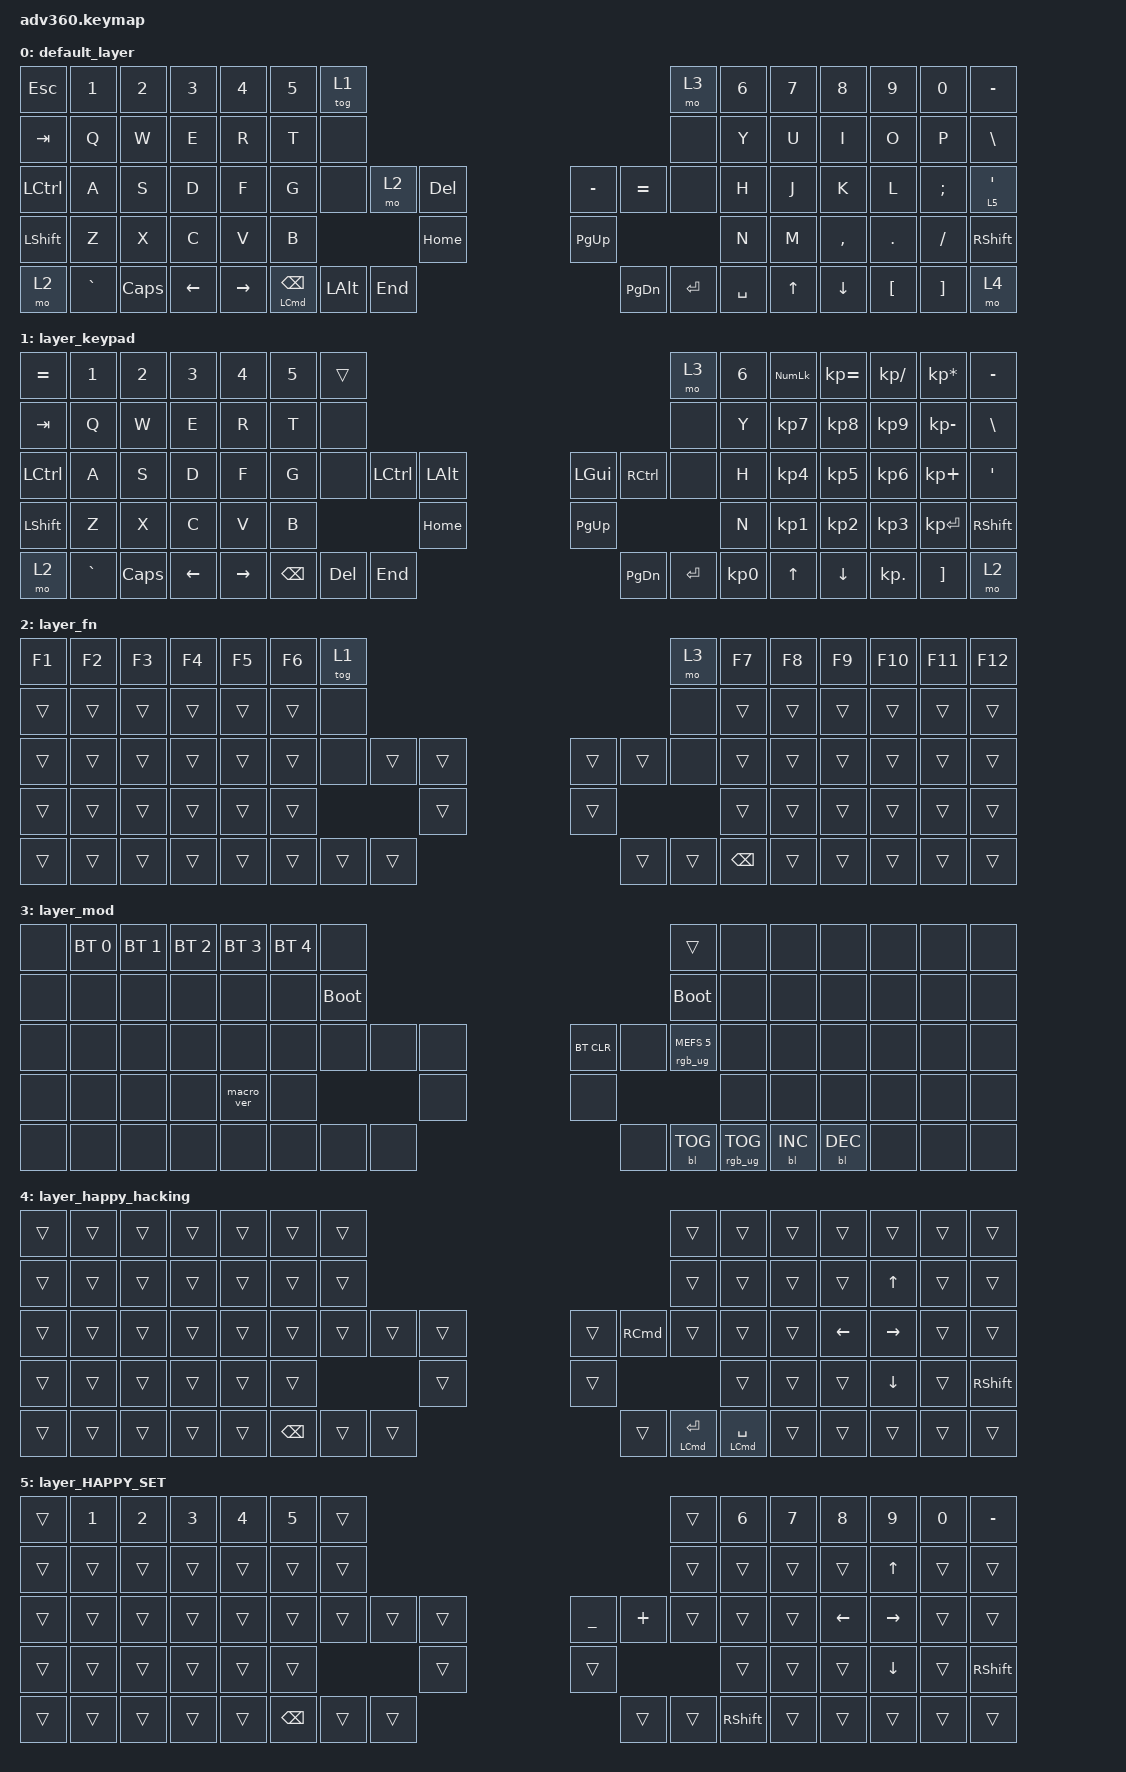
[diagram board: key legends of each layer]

/*
 * Copyright (c) 2020 The ZMK Contributors
 *
 * SPDX-License-Identifier: MIT
 */


/* THIS FILE WAS GENERATED!
 *
 * This file was generated automatically. You may or may not want to
 * edit it directly.
 */

#include <behaviors.dtsi>
#include <dt-bindings/zmk/keys.h>
#include <dt-bindings/zmk/bt.h>
#include <dt-bindings/zmk/rgb.h>
#include <dt-bindings/zmk/backlight.h>

/ {
  behaviors {
    #include "macros.dtsi"
    #include "version.dtsi"

    hm: homerow_mods {
        compatible = "zmk,behavior-hold-tap";
        label = "HOMEROW_MODS";
        #binding-cells = <2>;
        tapping-term-ms = <200>;
        quick_tap_ms = <175>;
        flavor = "tap-preferred";
        bindings = <&kp>, <&kp>;
    };
  };

    keymap {
        compatible = "zmk,keymap";


        default_layer {
            bindings = <
   &kp ESC     &kp N1    &kp N2    &kp N3     &kp N4  &kp N5                                &tog 1                                                                &mo 3  &kp N6  &kp N7     &kp N8    &kp N9    &kp N0        &kp MINUS
   &kp TAB      &kp Q     &kp W     &kp E      &kp R   &kp T                                 &none                                                                &none   &kp Y   &kp U      &kp I     &kp O     &kp P         &kp BSLH
 &kp LCTRL      &kp A     &kp S     &kp D      &kp F   &kp G                                 &none     &mo 2   &kp DEL                  &kp MINUS  &kp EQUAL      &none   &kp H   &kp J      &kp K     &kp L  &kp SEMI        &lt 5 SQT
 &kp LSHFT      &kp Z     &kp X     &kp C      &kp V   &kp B                                                  &kp HOME                  &kp PG_UP                         &kp N   &kp M  &kp COMMA   &kp DOT  &kp FSLH  &kp RIGHT_SHIFT
     &mo 2  &kp GRAVE  &kp CAPS  &kp LEFT  &kp RIGHT                    &mt LEFT_COMMAND BACKSPACE  &kp LALT   &kp END                  &kp PG_DN  &kp ENTER  &kp SPACE          &kp UP   &kp DOWN  &kp LBKT  &kp RBKT            &mo 4
            >;
        };

        layer_keypad {
            bindings = <
 &kp EQUAL     &kp N1    &kp N2    &kp N3     &kp N4  &kp N5              &trans                                                                 &mo 3  &kp N6  &kp KP_NUM  &kp KP_EQUAL  &kp KP_DIVIDE  &kp KP_MULTIPLY  &kp MINUS
   &kp TAB      &kp Q     &kp W     &kp E      &kp R   &kp T               &none                                                                 &none   &kp Y   &kp KP_N7     &kp KP_N8      &kp KP_N9     &kp KP_MINUS   &kp BSLH
 &kp LCTRL      &kp A     &kp S     &kp D      &kp F   &kp G               &none  &kp LCTRL  &kp LALT                   &kp LGUI  &kp RCTRL      &none   &kp H   &kp KP_N4     &kp KP_N5      &kp KP_N6      &kp KP_PLUS    &kp SQT
 &kp LSHFT      &kp Z     &kp X     &kp C      &kp V   &kp B                                 &kp HOME                  &kp PG_UP                         &kp N   &kp KP_N1     &kp KP_N2      &kp KP_N3     &kp KP_ENTER  &kp RSHFT
     &mo 2  &kp GRAVE  &kp CAPS  &kp LEFT  &kp RIGHT                    &kp BSPC    &kp DEL   &kp END                  &kp PG_DN  &kp ENTER  &kp KP_N0              &kp UP      &kp DOWN     &kp KP_DOT         &kp RBKT      &mo 2
            >;
        };

        layer_fn {
            bindings = <
 &kp F1  &kp F2  &kp F3  &kp F4  &kp F5  &kp F6            &tog 1                                                          &mo 3  &kp F7  &kp F8  &kp F9  &kp F10  &kp F11  &kp F12
 &trans  &trans  &trans  &trans  &trans  &trans             &none                                                          &none  &trans  &trans  &trans   &trans   &trans   &trans
 &trans  &trans  &trans  &trans  &trans  &trans             &none  &trans  &trans                  &trans  &trans          &none  &trans  &trans  &trans   &trans   &trans   &trans
 &trans  &trans  &trans  &trans  &trans  &trans                            &trans                  &trans                         &trans  &trans  &trans   &trans   &trans   &trans
 &trans  &trans  &trans  &trans  &trans                    &trans  &trans  &trans                  &trans  &trans  &kp BACKSPACE          &trans  &trans   &trans   &trans   &trans
            >;
        };

        layer_mod {
            bindings = <
  &none  &bt BT_SEL 0  &bt BT_SEL 1  &bt BT_SEL 2  &bt BT_SEL 3  &bt BT_SEL 4                  &none                                                                          &trans   &none       &none       &none   &none   &none   &none
  &none         &none         &none         &none         &none         &none            &bootloader                                                                     &bootloader   &none       &none       &none   &none   &none   &none
  &none         &none         &none         &none         &none         &none                  &none   &none   &none                  &bt BT_CLR       &none  &rgb_ug RGB_MEFS_CMD 5   &none       &none       &none   &none   &none   &none
  &none         &none         &none         &none    &macro_ver         &none                                  &none                       &none                                       &none       &none       &none   &none   &none   &none
  &none         &none         &none         &none         &none                                &none   &none   &none                       &none  &bl BL_TOG         &rgb_ug RGB_TOG          &bl BL_INC  &bl BL_DEC   &none   &none   &none
            >;
        };

        layer_happy_hacking {
            bindings = <
 &trans  &trans  &trans  &trans  &trans  &trans                   &trans                                                                                  &trans  &trans  &trans    &trans     &trans  &trans           &trans
 &trans  &trans  &trans  &trans  &trans  &trans                   &trans                                                                                  &trans  &trans  &trans    &trans     &kp UP  &trans           &trans
 &trans  &trans  &trans  &trans  &trans  &trans                   &trans  &trans  &trans                  &trans       &kp RIGHT_COMMAND                  &trans  &trans  &trans  &kp LEFT  &kp RIGHT  &trans           &trans
 &trans  &trans  &trans  &trans  &trans  &trans                                   &trans                  &trans                                                  &trans  &trans    &trans   &kp DOWN  &trans  &kp RIGHT_SHIFT
 &trans  &trans  &trans  &trans  &trans                    &kp BACKSPACE  &trans  &trans                  &trans  &mt LEFT_COMMAND ENTER  &mt LEFT_COMMAND SPACE          &trans    &trans     &trans  &trans           &trans
            >;
        };

        layer_HAPPY_SET {
            bindings = <
 &trans  &kp N1  &kp NUMBER_2  &kp NUMBER_3  &kp NUMBER_4  &kp NUMBER_5                   &trans                                                                &trans  &kp NUMBER_6  &kp NUMBER_7  &kp NUMBER_8  &kp NUMBER_9  &kp NUMBER_0        &kp MINUS
 &trans  &trans        &trans        &trans        &trans        &trans                   &trans                                                                &trans        &trans        &trans        &trans        &kp UP        &trans           &trans
 &trans  &trans        &trans        &trans        &trans        &trans                   &trans  &trans  &trans                  &kp UNDER  &kp PLUS           &trans        &trans        &trans      &kp LEFT     &kp RIGHT        &trans           &trans
 &trans  &trans        &trans        &trans        &trans        &trans                                   &trans                     &trans                                   &trans        &trans        &trans      &kp DOWN        &trans  &kp RIGHT_SHIFT
 &trans  &trans        &trans        &trans        &trans                          &kp BACKSPACE  &trans  &trans                     &trans    &trans  &kp RIGHT_SHIFT                      &trans        &trans        &trans        &trans           &trans
            >;
        };

    };
};
